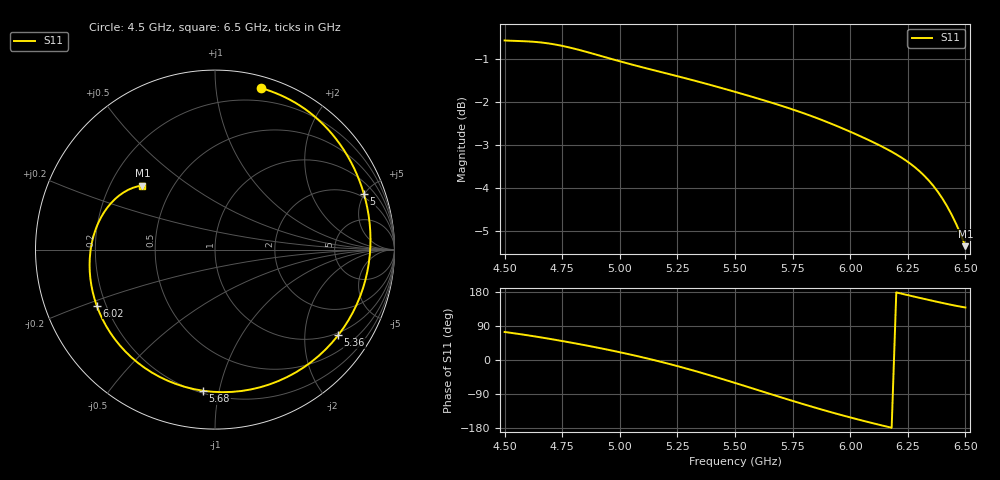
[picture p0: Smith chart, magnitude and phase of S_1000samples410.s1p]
! TOUCHSTONE file generated by CST MICROWAVE STUDIO
! Date and time: Fri Oct 28 01:58:46 2022
! Project name: L.cst
! Parameters = {Di=1.27; Epsilon_r=1.56; InnerDiameter=1.27; Length=2; Lf=10; Lg=60; OuterConductorThickness=0.2921; OuterDiameter=3.6; Wf=3; Wp=41.2; de=1.5; df=6.8; g=0.8; gx=3.27484; gy=0.530182; h=2.34; hf=1.524; px=9.24842; py=9.45475; w=9.7; wx=5.97359; wy=8.92457}
! Header version: 2018
! Port assignment regex: !\s*Touchstone port\s*([0-9]+)\s*=\s*(CST MWS port|CST DS port)\s*([0-9]+|Zmin|Zmax)\s*\(\"(.*)\"\)(\s*mode\s*([0-9]+))?.*
! Touchstone port assignment:
! Touchstone port 1 = CST MWS port 1 ("")
# GHz S DB R 50
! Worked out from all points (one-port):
!   101 points, 4.5 GHz to 6.5 GHz, reference 50 ohm
!   lowest |S11| = -5.4 dB at 6.5 GHz (marker M1), VSWR 3.34, Z = 16.9 + j17 ohm
!   |S11| at or under -10 dB: nowhere
!   S11 on the Smith chart (normalised r, x): 4.5 GHz: 0.09, +1.32; 5 GHz: 1.72, +4.96; 5.36 GHz: 0.92, -2.92; 5.68 GHz: 0.21, -0.90; 6.02 GHz: 0.16, -0.22; 6.5 GHz: 0.34, +0.34
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4.5  -0.57 73.9
4.64  -0.61 61.4
4.76  -0.71 49.0
4.88  -0.87 35.4
5  -1.05 20.5
5.08  -1.17 9.7
5.14  -1.25 1.0
5.2  -1.33 -8.1
5.26  -1.42 -17.8
5.36  -1.56 -34.9
5.44  -1.68 -49.3
5.5  -1.77 -60.5
5.56  -1.86 -71.9
5.6  -1.92 -79.5
5.68  -2.06 -94.8
5.76  -2.20 -109.8
5.82  -2.31 -120.7
5.88  -2.43 -131.4
5.94  -2.56 -141.6
6  -2.70 -151.5
6.02  -2.74 -154.7
6.08  -2.89 -164.0
6.14  -3.05 -173.0
6.26  -3.44 169.8
6.34  -3.83 158.6
6.4  -4.25 150.5
6.46  -4.85 143.0
6.5  -5.36 138.6
